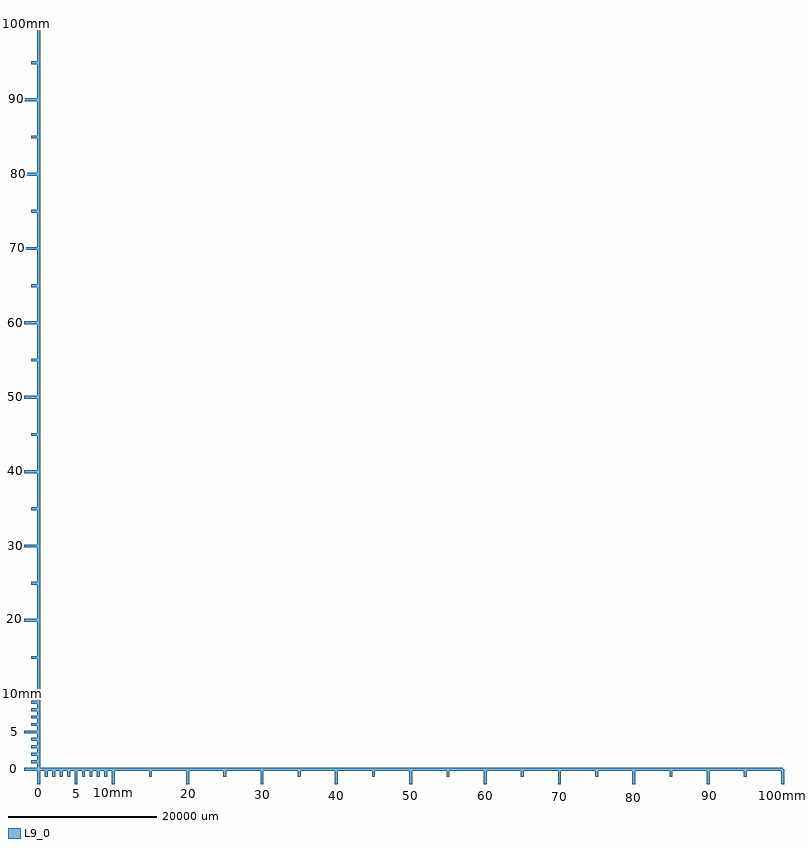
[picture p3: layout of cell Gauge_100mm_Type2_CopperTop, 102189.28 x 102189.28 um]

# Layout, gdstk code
import gdstk
lib = gdstk.Library(unit=1e-6, precision=1e-09)
L9_0 = (9, 0)

gauge_100mm_type2_copper = lib.new_cell('Gauge_100mm_Type2_CopperTop')
gauge_100mm_type2_copper.add(gdstk.FlexPath([(9999.98,0),(9999.98,-1998.98)], 380.998, ends="flush", simple_path=True, layer=9, datatype=0))  # L9_0
gauge_100mm_type2_copper.add(gdstk.FlexPath([(0,0),(9999.98,0)], 380.998, ends="flush", simple_path=True, layer=9, datatype=0))  # L9_0
gauge_100mm_type2_copper.add(gdstk.FlexPath([(0,0),(0,-1998.98)], 380.998, ends="flush", simple_path=True, layer=9, datatype=0))  # L9_0
gauge_100mm_type2_copper.add(gdstk.FlexPath([(5001.26,0),(5001.26,-1998.98)], 380.998, ends="flush", simple_path=True, layer=9, datatype=0))  # L9_0
gauge_100mm_type2_copper.add(gdstk.FlexPath([(1000.76,0),(1000.76,-1000.76)], 380.998, ends="flush", simple_path=True, layer=9, datatype=0))  # L9_0
gauge_100mm_type2_copper.add(gdstk.FlexPath([(1998.98,0),(1998.98,-1000.76)], 380.998, ends="flush", simple_path=True, layer=9, datatype=0))  # L9_0
gauge_100mm_type2_copper.add(gdstk.FlexPath([(2999.74,0),(2999.74,-1000.76)], 380.998, ends="flush", simple_path=True, layer=9, datatype=0))  # L9_0
gauge_100mm_type2_copper.add(gdstk.FlexPath([(4000.5,0),(4000.5,-1000.76)], 380.998, ends="flush", simple_path=True, layer=9, datatype=0))  # L9_0
gauge_100mm_type2_copper.add(gdstk.FlexPath([(5999.48,0),(5999.48,-1000.76)], 380.998, ends="flush", simple_path=True, layer=9, datatype=0))  # L9_0
gauge_100mm_type2_copper.add(gdstk.FlexPath([(7000.24,0),(7000.24,-1000.76)], 380.998, ends="flush", simple_path=True, layer=9, datatype=0))  # L9_0
gauge_100mm_type2_copper.add(gdstk.FlexPath([(8001,0),(8001,-1000.76)], 380.998, ends="flush", simple_path=True, layer=9, datatype=0))  # L9_0
gauge_100mm_type2_copper.add(gdstk.FlexPath([(8999.22,0),(8999.22,-1000.76)], 380.998, ends="flush", simple_path=True, layer=9, datatype=0))  # L9_0
gauge_100mm_type2_copper.add(gdstk.FlexPath([(99999.8,0),(99999.8,-1998.98)], 380.998, ends="flush", simple_path=True, layer=9, datatype=0))  # L9_0
gauge_100mm_type2_copper.add(gdstk.FlexPath([(9999.98,0),(99999.8,0)], 380.998, ends="flush", simple_path=True, layer=9, datatype=0))  # L9_0
gauge_100mm_type2_copper.add(gdstk.FlexPath([(15001.24,0),(15001.24,-1000.76)], 380.998, ends="flush", simple_path=True, layer=9, datatype=0))  # L9_0
gauge_100mm_type2_copper.add(gdstk.FlexPath([(19999.96,0),(19999.96,-1998.98)], 380.998, ends="flush", simple_path=True, layer=9, datatype=0))  # L9_0
gauge_100mm_type2_copper.add(gdstk.FlexPath([(25001.22,0),(25001.22,-1000.76)], 380.998, ends="flush", simple_path=True, layer=9, datatype=0))  # L9_0
gauge_100mm_type2_copper.add(gdstk.FlexPath([(29999.94,0),(29999.94,-1998.98)], 380.998, ends="flush", simple_path=True, layer=9, datatype=0))  # L9_0
gauge_100mm_type2_copper.add(gdstk.FlexPath([(35001.2,0),(35001.2,-1000.76)], 380.998, ends="flush", simple_path=True, layer=9, datatype=0))  # L9_0
gauge_100mm_type2_copper.add(gdstk.FlexPath([(39999.92,0),(39999.92,-1998.98)], 380.998, ends="flush", simple_path=True, layer=9, datatype=0))  # L9_0
gauge_100mm_type2_copper.add(gdstk.FlexPath([(45001.18,0),(45001.18,-1000.76)], 380.998, ends="flush", simple_path=True, layer=9, datatype=0))  # L9_0
gauge_100mm_type2_copper.add(gdstk.FlexPath([(49999.9,0),(49999.9,-1998.98)], 380.998, ends="flush", simple_path=True, layer=9, datatype=0))  # L9_0
gauge_100mm_type2_copper.add(gdstk.FlexPath([(55001.16,0),(55001.16,-1000.76)], 380.998, ends="flush", simple_path=True, layer=9, datatype=0))  # L9_0
gauge_100mm_type2_copper.add(gdstk.FlexPath([(59999.88,0),(59999.88,-1998.98)], 380.998, ends="flush", simple_path=True, layer=9, datatype=0))  # L9_0
gauge_100mm_type2_copper.add(gdstk.FlexPath([(65001.14,0),(65001.14,-1000.76)], 380.998, ends="flush", simple_path=True, layer=9, datatype=0))  # L9_0
gauge_100mm_type2_copper.add(gdstk.FlexPath([(69999.86,0),(69999.86,-1998.98)], 380.998, ends="flush", simple_path=True, layer=9, datatype=0))  # L9_0
gauge_100mm_type2_copper.add(gdstk.FlexPath([(75001.12,0),(75001.12,-1000.76)], 380.998, ends="flush", simple_path=True, layer=9, datatype=0))  # L9_0
gauge_100mm_type2_copper.add(gdstk.FlexPath([(79999.84,0),(79999.84,-1998.98)], 380.998, ends="flush", simple_path=True, layer=9, datatype=0))  # L9_0
gauge_100mm_type2_copper.add(gdstk.FlexPath([(85001.1,0),(85001.1,-1000.76)], 380.998, ends="flush", simple_path=True, layer=9, datatype=0))  # L9_0
gauge_100mm_type2_copper.add(gdstk.FlexPath([(89999.82,0),(89999.82,-1998.98)], 380.998, ends="flush", simple_path=True, layer=9, datatype=0))  # L9_0
gauge_100mm_type2_copper.add(gdstk.FlexPath([(95001.08,0),(95001.08,-1000.76)], 380.998, ends="flush", simple_path=True, layer=9, datatype=0))  # L9_0
gauge_100mm_type2_copper.add(gdstk.FlexPath([(0,99999.8),(-1998.98,99999.8)], 380.998, ends="flush", simple_path=True, layer=9, datatype=0))  # L9_0
gauge_100mm_type2_copper.add(gdstk.FlexPath([(0,0),(0,99999.8)], 380.998, ends="flush", simple_path=True, layer=9, datatype=0))  # L9_0
gauge_100mm_type2_copper.add(gdstk.FlexPath([(0,95001.08),(-1000.76,95001.08)], 380.998, ends="flush", simple_path=True, layer=9, datatype=0))  # L9_0
gauge_100mm_type2_copper.add(gdstk.FlexPath([(0,89999.82),(-1998.98,89999.82)], 380.998, ends="flush", simple_path=True, layer=9, datatype=0))  # L9_0
gauge_100mm_type2_copper.add(gdstk.FlexPath([(0,85001.1),(-1000.76,85001.1)], 380.998, ends="flush", simple_path=True, layer=9, datatype=0))  # L9_0
gauge_100mm_type2_copper.add(gdstk.FlexPath([(0,79999.84),(-1998.98,79999.84)], 380.998, ends="flush", simple_path=True, layer=9, datatype=0))  # L9_0
gauge_100mm_type2_copper.add(gdstk.FlexPath([(0,75001.12),(-1000.76,75001.12)], 380.998, ends="flush", simple_path=True, layer=9, datatype=0))  # L9_0
gauge_100mm_type2_copper.add(gdstk.FlexPath([(0,69999.86),(-1998.98,69999.86)], 380.998, ends="flush", simple_path=True, layer=9, datatype=0))  # L9_0
gauge_100mm_type2_copper.add(gdstk.FlexPath([(0,65001.14),(-1000.76,65001.14)], 380.998, ends="flush", simple_path=True, layer=9, datatype=0))  # L9_0
gauge_100mm_type2_copper.add(gdstk.FlexPath([(0,59999.88),(-1998.98,59999.88)], 380.998, ends="flush", simple_path=True, layer=9, datatype=0))  # L9_0
gauge_100mm_type2_copper.add(gdstk.FlexPath([(0,55001.16),(-1000.76,55001.16)], 380.998, ends="flush", simple_path=True, layer=9, datatype=0))  # L9_0
gauge_100mm_type2_copper.add(gdstk.FlexPath([(0,49999.9),(-1998.98,49999.9)], 380.998, ends="flush", simple_path=True, layer=9, datatype=0))  # L9_0
gauge_100mm_type2_copper.add(gdstk.FlexPath([(0,45001.18),(-1000.76,45001.18)], 380.998, ends="flush", simple_path=True, layer=9, datatype=0))  # L9_0
gauge_100mm_type2_copper.add(gdstk.FlexPath([(0,39999.92),(-1998.98,39999.92)], 380.998, ends="flush", simple_path=True, layer=9, datatype=0))  # L9_0
gauge_100mm_type2_copper.add(gdstk.FlexPath([(0,35001.2),(-1000.76,35001.2)], 380.998, ends="flush", simple_path=True, layer=9, datatype=0))  # L9_0
gauge_100mm_type2_copper.add(gdstk.FlexPath([(0,29999.94),(-1998.98,29999.94)], 380.998, ends="flush", simple_path=True, layer=9, datatype=0))  # L9_0
gauge_100mm_type2_copper.add(gdstk.FlexPath([(0,25001.22),(-1000.76,25001.22)], 380.998, ends="flush", simple_path=True, layer=9, datatype=0))  # L9_0
gauge_100mm_type2_copper.add(gdstk.FlexPath([(0,19999.96),(-1998.98,19999.96)], 380.998, ends="flush", simple_path=True, layer=9, datatype=0))  # L9_0
gauge_100mm_type2_copper.add(gdstk.FlexPath([(0,15001.24),(-1000.76,15001.24)], 380.998, ends="flush", simple_path=True, layer=9, datatype=0))  # L9_0
gauge_100mm_type2_copper.add(gdstk.FlexPath([(0,9999.98),(-1998.98,9999.98)], 380.998, ends="flush", simple_path=True, layer=9, datatype=0))  # L9_0
gauge_100mm_type2_copper.add(gdstk.FlexPath([(0,5001.26),(-1998.98,5001.26)], 380.998, ends="flush", simple_path=True, layer=9, datatype=0))  # L9_0
gauge_100mm_type2_copper.add(gdstk.FlexPath([(0,0),(-1998.98,0)], 380.998, ends="flush", simple_path=True, layer=9, datatype=0))  # L9_0
gauge_100mm_type2_copper.add(gdstk.FlexPath([(0,1000.76),(-1000.76,1000.76)], 380.998, ends="flush", simple_path=True, layer=9, datatype=0))  # L9_0
gauge_100mm_type2_copper.add(gdstk.FlexPath([(0,1998.98),(-1000.76,1998.98)], 380.998, ends="flush", simple_path=True, layer=9, datatype=0))  # L9_0
gauge_100mm_type2_copper.add(gdstk.FlexPath([(0,2999.74),(-1000.76,2999.74)], 380.998, ends="flush", simple_path=True, layer=9, datatype=0))  # L9_0
gauge_100mm_type2_copper.add(gdstk.FlexPath([(0,4000.5),(-1000.76,4000.5)], 380.998, ends="flush", simple_path=True, layer=9, datatype=0))  # L9_0
gauge_100mm_type2_copper.add(gdstk.FlexPath([(0,5999.48),(-1000.76,5999.48)], 380.998, ends="flush", simple_path=True, layer=9, datatype=0))  # L9_0
gauge_100mm_type2_copper.add(gdstk.FlexPath([(0,7000.24),(-1000.76,7000.24)], 380.998, ends="flush", simple_path=True, layer=9, datatype=0))  # L9_0
gauge_100mm_type2_copper.add(gdstk.FlexPath([(0,8001),(-1000.76,8001)], 380.998, ends="flush", simple_path=True, layer=9, datatype=0))  # L9_0
gauge_100mm_type2_copper.add(gdstk.FlexPath([(0,8999.22),(-1000.76,8999.22)], 380.998, ends="flush", simple_path=True, layer=9, datatype=0))  # L9_0
gauge_100mm_type2_copper.add(gdstk.Label('10mm', (-3502.66,10104.12), layer=9, texttype=0))
gauge_100mm_type2_copper.add(gdstk.Label('0', (-3403.6,104.14), layer=9, texttype=0))
gauge_100mm_type2_copper.add(gdstk.Label('5', (-3302,5102.86), layer=9, texttype=0))
gauge_100mm_type2_copper.add(gdstk.Label('20', (-3302,20203.16), layer=9, texttype=0))
gauge_100mm_type2_copper.add(gdstk.Label('30', (-3202.94,30104.08), layer=9, texttype=0))
gauge_100mm_type2_copper.add(gdstk.Label('40', (-3101.34,40104.06), layer=9, texttype=0))
gauge_100mm_type2_copper.add(gdstk.Label('50', (-3101.34,50104.04), layer=9, texttype=0))
gauge_100mm_type2_copper.add(gdstk.Label('60', (-3101.34,60104.02), layer=9, texttype=0))
gauge_100mm_type2_copper.add(gdstk.Label('70', (-2900.68,70104), layer=9, texttype=0))
gauge_100mm_type2_copper.add(gdstk.Label('80', (-2801.62,80103.98), layer=9, texttype=0))
gauge_100mm_type2_copper.add(gdstk.Label('90', (-2999.74,90205.56), layer=9, texttype=0))
gauge_100mm_type2_copper.add(gdstk.Label('100mm', (-2999.74,100205.54), layer=9, texttype=0))
gauge_100mm_type2_copper.add(gdstk.Label('100mm', (100106.48,-3601.72), layer=9, texttype=0))
gauge_100mm_type2_copper.add(gdstk.Label('90', (90106.5,-3601.72), layer=9, texttype=0))
gauge_100mm_type2_copper.add(gdstk.Label('80', (80004.92,-3799.84), layer=9, texttype=0))
gauge_100mm_type2_copper.add(gdstk.Label('70', (70004.94,-3700.78), layer=9, texttype=0))
gauge_100mm_type2_copper.add(gdstk.Label('60', (60004.96,-3500.12), layer=9, texttype=0))
gauge_100mm_type2_copper.add(gdstk.Label('50', (50004.98,-3500.12), layer=9, texttype=0))
gauge_100mm_type2_copper.add(gdstk.Label('40', (40005,-3500.12), layer=9, texttype=0))
gauge_100mm_type2_copper.add(gdstk.Label('30', (30005.02,-3398.52), layer=9, texttype=0))
gauge_100mm_type2_copper.add(gdstk.Label('20', (20104.1,-3299.46), layer=9, texttype=0))
gauge_100mm_type2_copper.add(gdstk.Label('5', (5003.8,-3299.46), layer=9, texttype=0))
gauge_100mm_type2_copper.add(gdstk.Label('0', (5.08,-3197.86), layer=9, texttype=0))
gauge_100mm_type2_copper.add(gdstk.Label('10mm', (10005.06,-3098.8), layer=9, texttype=0))
gauge_100mm_type2_copper.add(gdstk.Label('type', (45999.4,-8999.22), layer=9, texttype=0))
gauge_100mm_type2_copper.add(gdstk.Label('devicename', (4000.5,-8999.22), layer=9, texttype=0))

lib.write_gds('Gauge_100mm_Type2_CopperTop.gds')
